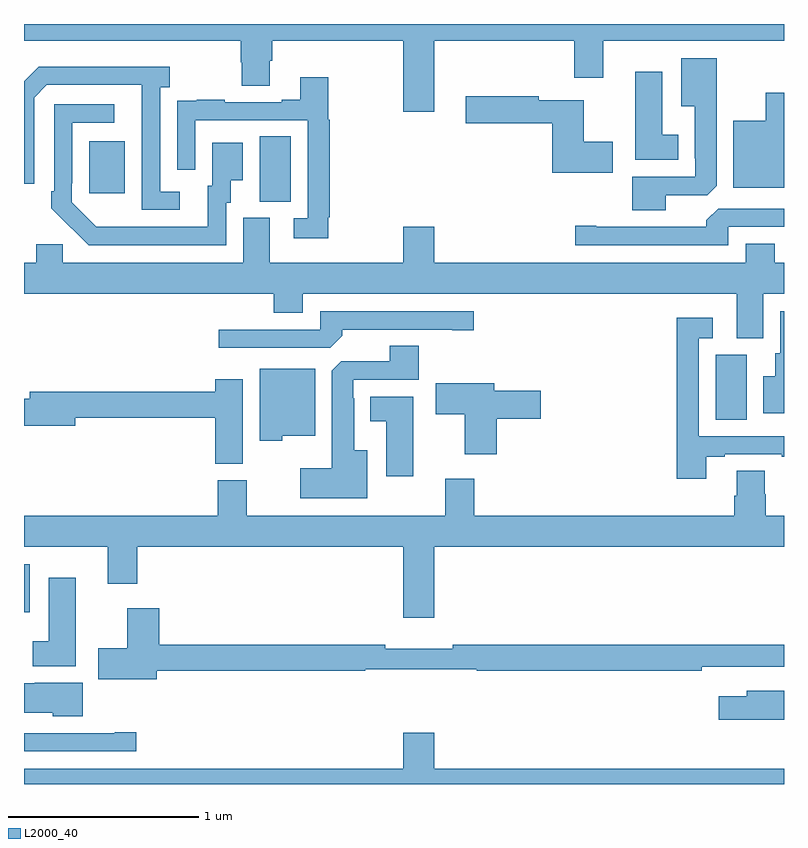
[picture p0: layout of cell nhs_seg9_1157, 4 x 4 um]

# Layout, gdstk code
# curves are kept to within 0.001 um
import gdstk
lib = gdstk.Library(unit=1e-6, precision=1e-09)
def R(c, l, rs):  # rectangles x0, y0, x1, y1
    for r in rs: c.add(gdstk.rectangle(r[:2], r[2:], *l))
def P(c, l, *ps):  # polygons
    for p in ps: c.add(gdstk.Polygon(p, *l))
L2000_40 = (2000, 40)

nhs_seg9_1157 = lib.new_cell('nhs_seg9_1157')
R(nhs_seg9_1157, L2000_40, [(175,1201.403,175.03,1201.657), (178.64,1202.416,178.804,1202.76), (176.24,1203.565,176.404,1203.908), (175.343,1203.609,175.531,1203.883)])
P(nhs_seg9_1157, L2000_40, [(177.16,1204.412),(177.896,1204.412),(177.896,1204.218),(178.048,1204.218),(178.048,1204.412),(179,1204.412),(179,1204.5),(175,1204.5),(175,1204.412),(176.141,1204.412),(176.141,1204.299),(176.146,1204.299),(176.146,1204.174),(176.293,1204.174),(176.293,1204.306),(176.306,1204.306),(176.306,1204.412),(176.996,1204.412),(176.996,1204.038),(177.16,1204.038)],
  [(178.378,1203.6),(178.596,1203.6),(178.645,1203.649),(178.645,1204.321),(178.46,1204.321),(178.46,1204.067),(178.529,1204.067),(178.529,1203.793),(178.533,1203.793),(178.533,1203.696),(178.202,1203.696),(178.202,1203.521),(178.378,1203.521)],
  [(175.819,1203.618),(175.716,1203.618),(175.716,1204.166),(175.768,1204.166),(175.768,1204.276),(175.078,1204.276),(175,1204.198),(175,1203.66),(175.053,1203.66),(175.053,1204.113),(175.119,1204.179),(175.619,1204.179),(175.62,1203.522),(175.819,1203.522)],
  [(178.444,1203.916),(178.36,1203.916),(178.36,1204.249),(178.217,1204.249),(178.217,1203.785),(178.444,1203.785)],
  [(176.602,1203.484),(176.609,1203.484),(176.609,1203.996),(176.602,1203.996),(176.602,1204.219),(176.453,1204.219),(176.453,1204.102),(176.357,1204.102),(176.357,1204.089),(176.057,1204.089),(176.057,1204.102),(175.909,1204.102),(175.909,1204.095),(175.807,1204.095),(175.807,1203.986),(175.806,1203.986),(175.806,1203.732),(175.902,1203.732),(175.902,1203.993),(176.493,1203.993),(176.493,1203.477),(176.421,1203.477),(176.421,1203.372),(176.602,1203.372)],
  [(179,1204.138),(178.904,1204.138),(178.904,1203.991),(178.733,1203.991),(178.733,1203.638),(179,1203.638)],
  [(178.099,1203.879),(177.946,1203.879),(177.946,1204.099),(177.708,1204.099),(177.708,1204.119),(177.324,1204.119),(177.324,1203.977),(177.779,1203.977),(177.779,1203.716),(178.099,1203.716)],
  [(176.064,1203.558),(176.089,1203.558),(176.089,1203.677),(176.152,1203.677),(176.152,1203.874),(175.991,1203.874),(175.991,1203.648),(175.967,1203.648),(175.967,1203.432),(175.38,1203.433),(175.251,1203.561),(175.251,1203.661),(175.254,1203.661),(175.254,1203.981),(175.474,1203.981),(175.474,1204.077),(175.158,1204.077),(175.158,1203.619),(175.143,1203.619),(175.143,1203.531),(175.34,1203.336),(176.064,1203.336)],
  [(178.707,1203.432),(179,1203.432),(179,1203.528),(178.653,1203.528),(178.592,1203.466),(178.592,1203.432),(178.012,1203.432),(178.012,1203.437),(177.9,1203.437),(177.9,1203.336),(178.707,1203.336)],
  [(178.891,1203.08),(179,1203.08),(179,1203.244),(178.952,1203.244),(178.952,1203.343),(178.799,1203.343),(178.799,1203.244),(177.16,1203.244),(177.16,1203.433),(176.996,1203.433),(176.996,1203.244),(176.293,1203.244),(176.293,1203.48),(176.153,1203.48),(176.153,1203.244),(175.203,1203.244),(175.203,1203.342),(175.064,1203.342),(175.064,1203.244),(175,1203.244),(175,1203.08),(176.315,1203.08),(176.315,1202.981),(176.467,1202.981),(176.467,1203.08),(178.751,1203.08),(178.751,1202.845),(178.891,1202.845)],
  [(176.675,1202.858),(176.675,1202.892),(177.254,1202.892),(177.254,1202.887),(177.367,1202.887),(177.367,1202.988),(176.559,1202.988),(176.559,1202.892),(176.025,1202.892),(176.025,1202.796),(176.613,1202.796)],
  [(179,1202.988),(178.98,1202.988),(178.98,1202.766),(178.955,1202.766),(178.955,1202.647),(178.892,1202.647),(178.892,1202.451),(179,1202.451)],
  [(178.591,1202.223),(178.687,1202.223),(178.687,1202.235),(178.987,1202.235),(178.987,1202.223),(179,1202.223),(179,1202.331),(178.551,1202.331),(178.551,1202.847),(178.624,1202.847),(178.624,1202.953),(178.435,1202.953),(178.435,1202.106),(178.591,1202.106)],
  [(176.806,1202.257),(176.737,1202.257),(176.737,1202.531),(176.733,1202.531),(176.733,1202.628),(177.077,1202.628),(177.077,1202.807),(176.924,1202.807),(176.924,1202.724),(176.67,1202.724),(176.621,1202.675),(176.621,1202.161),(176.454,1202.161),(176.454,1202.003),(176.806,1202.003)],
  [(176.358,1202.333),(176.533,1202.333),(176.533,1202.686),(176.24,1202.686),(176.24,1202.306),(176.358,1202.306)],
  [(176.152,1202.629),(176.006,1202.629),(176.006,1202.564),(175.031,1202.564),(175.031,1202.528),(175,1202.528),(175,1202.386),(175.27,1202.386),(175.27,1202.428),(176.006,1202.428),(176.006,1202.185),(176.152,1202.185)],
  [(177.488,1202.423),(177.721,1202.423),(177.721,1202.57),(177.475,1202.57),(177.475,1202.608),(177.168,1202.608),(177.168,1202.446),(177.32,1202.446),(177.32,1202.235),(177.488,1202.235)],
  [(177.049,1202.539),(176.822,1202.539),(176.822,1202.408),(176.906,1202.408),(176.906,1202.121),(177.049,1202.121)],
  [(177.16,1201.748),(179,1201.748),(179,1201.912),(178.904,1201.912),(178.904,1202.025),(178.899,1202.025),(178.899,1202.15),(178.751,1202.15),(178.751,1202.018),(178.739,1202.018),(178.739,1201.912),(177.371,1201.912),(177.371,1202.107),(177.218,1202.107),(177.218,1201.912),(176.173,1201.912),(176.173,1202.1),(176.021,1202.1),(176.021,1201.912),(175,1201.912),(175,1201.748),(175.442,1201.748),(175.442,1201.554),(175.595,1201.554),(175.595,1201.748),(176.996,1201.748),(176.996,1201.374),(177.16,1201.374)],
  [(175.273,1201.585),(175.13,1201.585),(175.13,1201.252),(175.046,1201.252),(175.046,1201.121),(175.273,1201.121)],
  [(175.699,1201.096),(176.795,1201.096),(176.795,1201.104),(177.382,1201.104),(177.382,1201.096),(178.568,1201.096),(178.568,1201.116),(179,1201.116),(179,1201.232),(177.256,1201.232),(177.256,1201.213),(176.9,1201.213),(176.9,1201.232),(175.712,1201.232),(175.712,1201.426),(175.544,1201.426),(175.544,1201.215),(175.392,1201.215),(175.392,1201.052),(175.699,1201.052)],
  [(175.309,1201.033),(175.057,1201.033),(175.057,1201.029),(175,1201.029),(175,1200.875),(175.152,1200.875),(175.152,1200.857),(175.309,1200.857)],
  [(179,1200.99),(178.805,1200.99),(178.805,1200.961),(178.656,1200.961),(178.656,1200.839),(179,1200.839)],
  [(175.591,1200.773),(175.478,1200.773),(175.478,1200.768),(175,1200.768),(175,1200.672),(175.591,1200.672)],
  [(179,1200.58),(177.16,1200.58),(177.16,1200.769),(176.996,1200.769),(176.996,1200.58),(175,1200.58),(175,1200.5),(179,1200.5)])

lib.write_gds('nhs_seg9_1157.gds')
